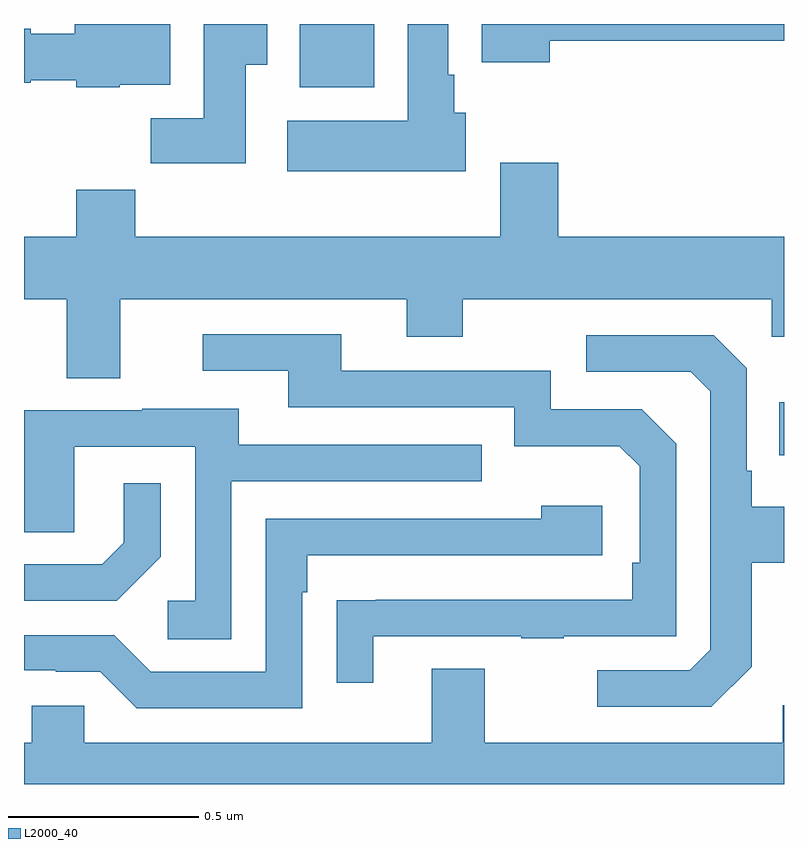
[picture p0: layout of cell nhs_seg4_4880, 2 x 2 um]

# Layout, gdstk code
import gdstk
lib = gdstk.Library(unit=1e-6, precision=1e-09)
def R(c, l, rs):  # rectangles x0, y0, x1, y1
    for r in rs: c.add(gdstk.rectangle(r[:2], r[2:], *l))
def P(c, l, *ps):  # polygons
    for p in ps: c.add(gdstk.Polygon(p, *l))
L2000_40 = (2000, 40)

nhs_seg4_4880 = lib.new_cell('nhs_seg4_4880')
R(nhs_seg4_4880, L2000_40, [(172.987,773.765,173,773.905), (171.725,774.734,171.922,774.9)])
P(nhs_seg4_4880, L2000_40, [(172.162,774.666),(172.132,774.666),(172.132,774.766),(172.117,774.766),(172.117,774.9),(172.01,774.9),(172.01,774.646),(171.693,774.646),(171.693,774.512),(172.162,774.512)],
  [(171.252,774.74),(171.385,774.74),(171.385,774.9),(171.134,774.9),(171.134,774.874),(171.018,774.874),(171.018,774.887),(171,774.887),(171,774.745),(171.018,774.745),(171.018,774.752),(171.138,774.752),(171.138,774.734),(171.252,774.734)],
  [(171.583,774.793),(171.64,774.793),(171.64,774.9),(171.473,774.9),(171.473,774.652),(171.334,774.652),(171.334,774.534),(171.583,774.534)],
  [(172.384,774.856),(173,774.856),(173,774.9),(172.205,774.9),(172.205,774.8),(172.384,774.8)],
  [(171.253,774.176),(172.007,774.176),(172.007,774.077),(172.155,774.077),(172.155,774.176),(172.968,774.176),(172.968,774.077),(173,774.077),(173,774.34),(172.406,774.34),(172.406,774.535),(172.253,774.535),(172.253,774.34),(171.293,774.34),(171.293,774.464),(171.137,774.464),(171.137,774.34),(171,774.34),(171,774.176),(171.113,774.176),(171.113,773.968),(171.253,773.968)],
  [(171.919,773.289),(172.309,773.289),(172.309,773.284),(172.421,773.284),(172.421,773.289),(172.716,773.289),(172.716,773.796),(172.626,773.886),(172.386,773.886),(172.386,773.988),(171.835,773.988),(171.835,774.084),(171.471,774.084),(171.471,773.988),(171.695,773.988),(171.695,773.892),(172.29,773.892),(172.29,773.789),(172.567,773.789),(172.62,773.736),(172.62,773.482),(172.6,773.482),(172.6,773.385),(171.925,773.385),(171.925,773.384),(171.823,773.384),(171.823,773.166),(171.919,773.166)],
  [(172.915,773.209),(172.915,773.482),(173,773.482),(173,773.629),(172.915,773.629),(172.915,773.725),(172.902,773.725),(172.902,773.994),(172.815,774.081),(172.479,774.081),(172.479,773.985),(172.755,773.985),(172.806,773.934),(172.806,773.253),(172.752,773.199),(172.509,773.199),(172.509,773.103),(172.809,773.103)],
  [(171.546,773.697),(172.205,773.697),(172.205,773.793),(171.565,773.793),(171.565,773.887),(171.311,773.887),(171.311,773.883),(171,773.883),(171,773.563),(171.132,773.563),(171.132,773.787),(171.45,773.787),(171.45,773.382),(171.378,773.382),(171.378,773.281),(171.546,773.281)],
  [(171.36,773.498),(171.36,773.692),(171.263,773.692),(171.263,773.535),(171.206,773.478),(171,773.478),(171,773.382),(171.244,773.382)],
  [(171.732,773.405),(171.745,773.405),(171.745,773.502),(172.522,773.502),(172.522,773.632),(172.361,773.632),(172.361,773.598),(171.636,773.598),(171.636,773.196),(171.333,773.196),(171.237,773.292),(171,773.292),(171,773.199),(171.083,773.199),(171.083,773.196),(171.201,773.196),(171.297,773.1),(171.732,773.1)],
  [(173,773.107),(172.997,773.107),(172.997,773.008),(172.213,773.008),(172.213,773.203),(172.073,773.203),(172.073,773.008),(171.159,773.008),(171.159,773.106),(171.021,773.106),(171.021,773.008),(171,773.008),(171,772.9),(173,772.9)])

lib.write_gds('nhs_seg4_4880.gds')
